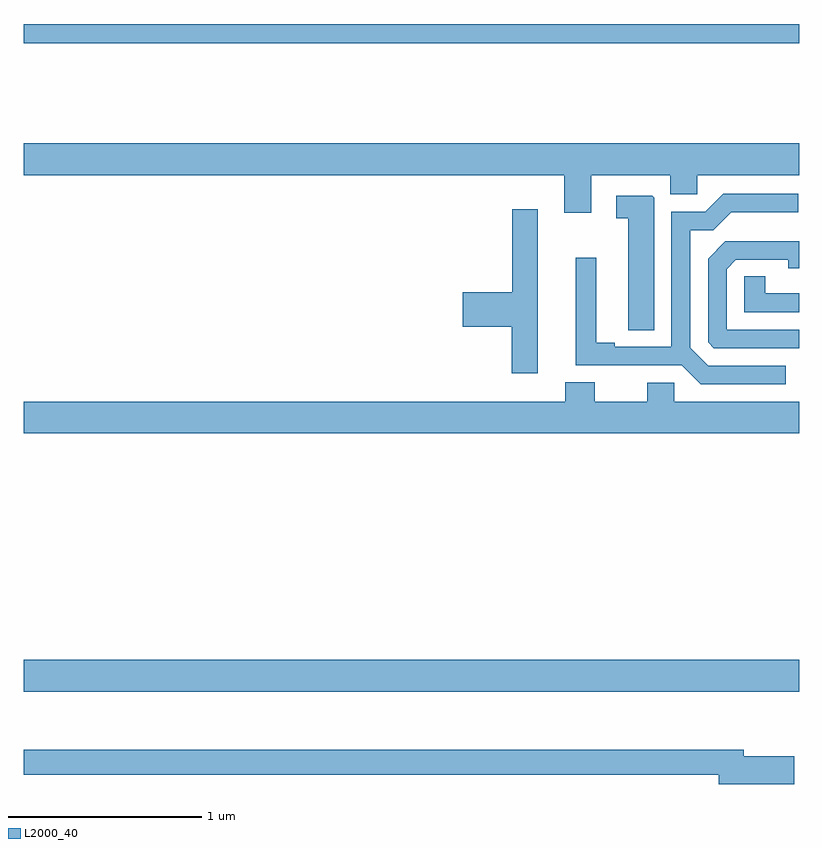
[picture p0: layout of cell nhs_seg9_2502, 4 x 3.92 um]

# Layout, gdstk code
import gdstk
lib = gdstk.Library(unit=1e-6, precision=1e-09)
def R(c, l, rs):  # rectangles x0, y0, x1, y1
    for r in rs: c.add(gdstk.rectangle(r[:2], r[2:], *l))
def P(c, l, *ps):  # polygons
    for p in ps: c.add(gdstk.Polygon(p, *l))
L2000_40 = (2000, 40)

nhs_seg9_2502 = lib.new_cell('nhs_seg9_2502')
R(nhs_seg9_2502, L2000_40, [(253,1227.056,257,1227.22), (253,1230.4,257,1230.5)])
P(nhs_seg9_2502, L2000_40, [(255.928,1229.72),(256.334,1229.72),(256.334,1229.622),(256.473,1229.622),(256.473,1229.72),(257,1229.72),(257,1229.884),(253,1229.884),(253,1229.72),(255.788,1229.72),(255.788,1229.526),(255.928,1229.526)],
  [(256.93,1228.737),(256.53,1228.737),(256.437,1228.83),(256.437,1229.437),(256.558,1229.437),(256.649,1229.528),(256.996,1229.528),(256.996,1229.625),(256.608,1229.625),(256.515,1229.532),(256.341,1229.532),(256.341,1228.836),(256.048,1228.836),(256.048,1228.856),(255.952,1228.856),(255.952,1229.293),(255.848,1229.293),(255.848,1228.74),(256.394,1228.74),(256.493,1228.641),(256.93,1228.641)],
  [(256.252,1229.603),(256.242,1229.613),(256.056,1229.613),(256.056,1229.497),(256.118,1229.497),(256.118,1228.921),(256.252,1228.921)],
  [(255.652,1229.545),(255.521,1229.545),(255.521,1229.117),(255.264,1229.117),(255.264,1228.939),(255.518,1228.939),(255.518,1228.698),(255.652,1228.698)],
  [(257,1228.923),(256.626,1228.923),(256.626,1229.235),(256.674,1229.283),(256.943,1229.283),(256.943,1229.24),(257,1229.24),(257,1229.38),(256.735,1229.38),(256.735,1229.378),(256.619,1229.378),(256.53,1229.289),(256.53,1228.857),(256.56,1228.827),(257,1228.827)],
  [(257,1229.11),(256.825,1229.11),(256.825,1229.198),(256.716,1229.198),(256.716,1229.013),(257,1229.013)],
  [(257,1228.552),(256.356,1228.552),(256.356,1228.65),(256.217,1228.65),(256.217,1228.552),(255.946,1228.552),(255.946,1228.651),(255.794,1228.651),(255.794,1228.552),(253,1228.552),(253,1228.388),(257,1228.388)],
  [(256.975,1226.721),(256.714,1226.721),(256.714,1226.755),(253,1226.755),(253,1226.626),(256.586,1226.626),(256.586,1226.579),(256.975,1226.579)])

lib.write_gds('nhs_seg9_2502.gds')
